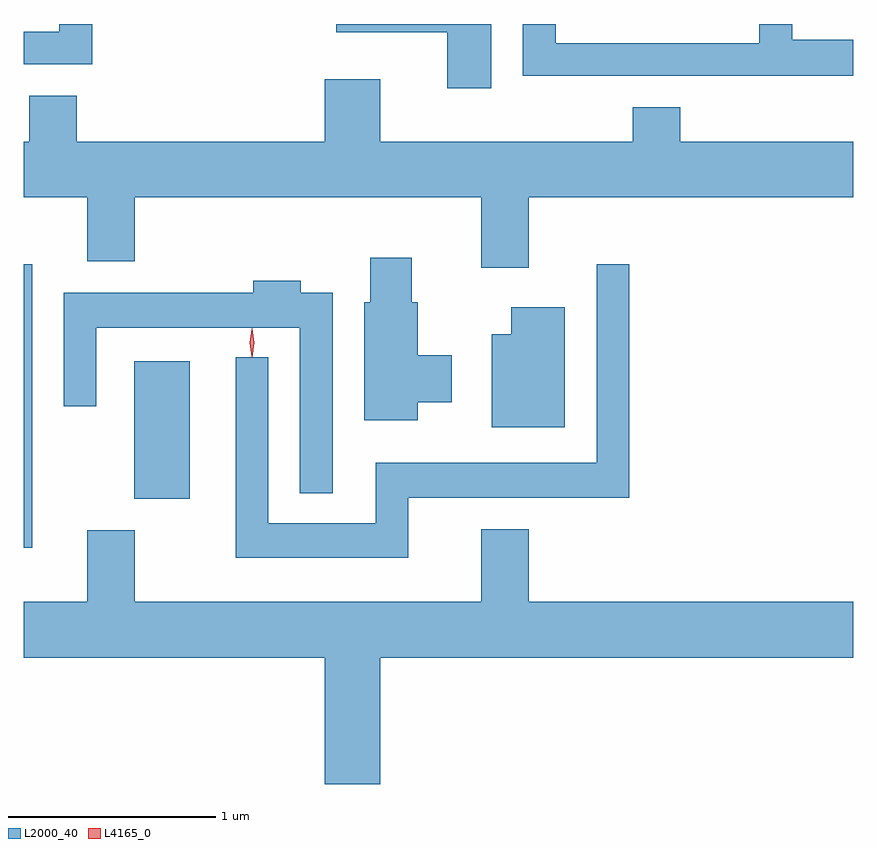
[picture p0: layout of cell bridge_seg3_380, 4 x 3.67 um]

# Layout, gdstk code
import gdstk
lib = gdstk.Library(unit=1e-6, precision=1e-09)
def R(c, l, rs):  # rectangles x0, y0, x1, y1
    for r in rs: c.add(gdstk.rectangle(r[:2], r[2:], *l))
def P(c, l, *ps):  # polygons
    for p in ps: c.add(gdstk.Polygon(p, *l))
L2000_40 = (2000, 40)
L4165_0 = (4165, 0)

bridge_seg3_380 = lib.new_cell('bridge_seg3_380')
R(bridge_seg3_380, L2000_40, [(573.264,1164.286,573.304,1165.653), (573.796,1164.521,574.064,1165.184)])
P(bridge_seg3_380, L2000_40, [(575.519,1166.811),(574.771,1166.811),(574.771,1166.771),(575.306,1166.771),(575.306,1166.501),(575.519,1166.501)],
  [(573.594,1166.811),(573.436,1166.811),(573.436,1166.774),(573.264,1166.774),(573.264,1166.616),(573.594,1166.616)],
  [(577.264,1166.734),(576.969,1166.734),(576.969,1166.811),(576.811,1166.811),(576.811,1166.719),(575.829,1166.719),(575.829,1166.811),(575.671,1166.811),(575.671,1166.561),(577.264,1166.561)],
  [(575.699,1165.976),(577.264,1165.976),(577.264,1166.244),(576.429,1166.244),(576.429,1166.409),(576.201,1166.409),(576.201,1166.244),(574.984,1166.244),(574.984,1166.544),(574.716,1166.544),(574.716,1166.244),(573.519,1166.244),(573.519,1166.464),(573.291,1166.464),(573.291,1166.244),(573.264,1166.244),(573.264,1165.976),(573.571,1165.976),(573.571,1165.666),(573.799,1165.666),(573.799,1165.976),(575.471,1165.976),(575.471,1165.636),(575.699,1165.636)],
  [(575.164,1164.986),(575.329,1164.986),(575.329,1165.214),(575.164,1165.214),(575.164,1165.469),(575.134,1165.469),(575.134,1165.684),(574.936,1165.684),(574.936,1165.469),(574.906,1165.469),(574.906,1164.901),(575.164,1164.901)],
  [(575.119,1164.526),(576.184,1164.526),(576.184,1165.653),(576.026,1165.653),(576.026,1164.694),(574.961,1164.694),(574.961,1164.404),(574.444,1164.404),(574.444,1165.203),(574.286,1165.203),(574.286,1164.236),(575.119,1164.236)],
  [(574.754,1165.514),(574.599,1165.514),(574.599,1165.574),(574.371,1165.574),(574.371,1165.514),(573.456,1165.514),(573.456,1164.968),(573.614,1164.968),(573.614,1165.346),(574.596,1165.346),(574.596,1164.548),(574.754,1164.548)],
  [(575.874,1165.444),(575.616,1165.444),(575.616,1165.314),(575.521,1165.314),(575.521,1164.866),(575.874,1164.866)],
  [(574.984,1163.756),(577.264,1163.756),(577.264,1164.024),(575.699,1164.024),(575.699,1164.374),(575.471,1164.374),(575.471,1164.024),(573.799,1164.024),(573.799,1164.369),(573.571,1164.369),(573.571,1164.024),(573.264,1164.024),(573.264,1163.756),(574.716,1163.756),(574.716,1163.146),(574.984,1163.146)])
P(bridge_seg3_380, L4165_0, [(574.364,1165.207),(574.364,1165.207),(574.354,1165.274),(574.364,1165.34),(574.364,1165.34),(574.365,1165.34),(574.374,1165.274),(574.365,1165.207)],
  [(574.364,1165.204),(574.355,1165.273),(574.364,1165.342),(574.365,1165.343),(574.365,1165.342),(574.375,1165.273),(574.365,1165.204),(574.365,1165.204)])

lib.write_gds('bridge_seg3_380.gds')
